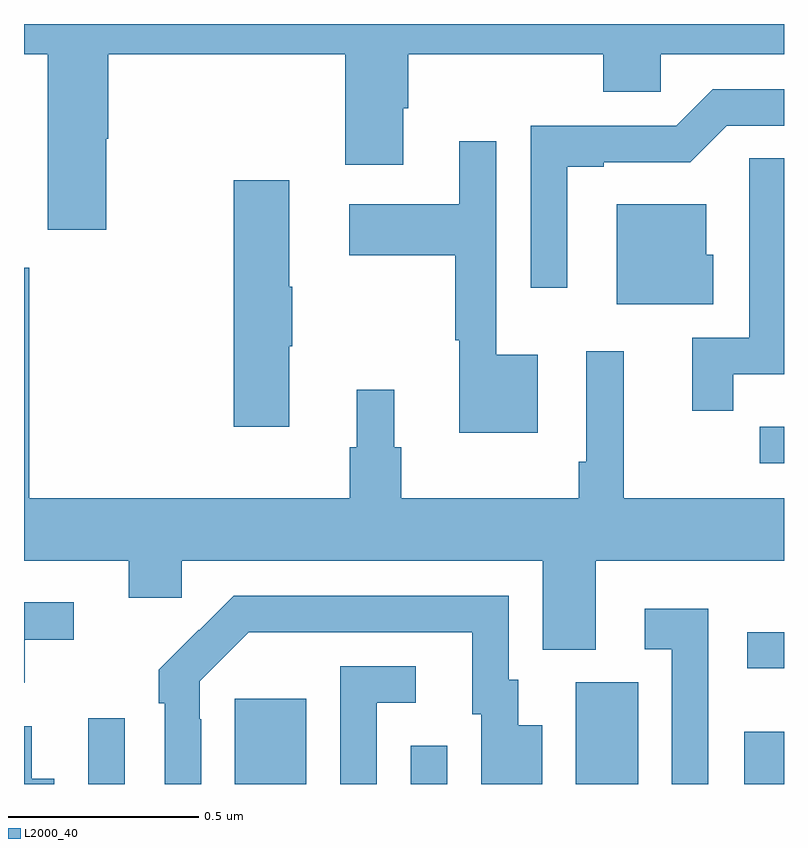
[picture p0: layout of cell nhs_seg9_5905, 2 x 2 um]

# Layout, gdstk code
import gdstk
lib = gdstk.Library(unit=1e-6, precision=1e-09)
def R(c, l, rs):  # rectangles x0, y0, x1, y1
    for r in rs: c.add(gdstk.rectangle(r[:2], r[2:], *l))
def P(c, l, *ps):  # polygons
    for p in ps: c.add(gdstk.Polygon(p, *l))
L2000_40 = (2000, 40)

nhs_seg9_5905 = lib.new_cell('nhs_seg9_5905')
R(nhs_seg9_5905, L2000_40, [(185.169,1194.5,185.265,1194.673), (185.555,1194.5,185.743,1194.724), (186.018,1194.5,186.114,1194.601), (186.452,1194.5,186.616,1194.768), (186.896,1194.5,187,1194.637), (186.903,1194.804,187,1194.9), (186.936,1195.344,187,1195.44)])
P(nhs_seg9_5905, L2000_40, [(185.217,1196.198),(185.222,1196.198),(185.222,1196.42),(185.846,1196.42),(185.846,1196.13),(185.998,1196.13),(185.998,1196.278),(186.011,1196.278),(186.011,1196.42),(186.524,1196.42),(186.524,1196.322),(186.675,1196.322),(186.675,1196.42),(187,1196.42),(187,1196.5),(185,1196.5),(185,1196.42),(185.062,1196.42),(185.062,1195.959),(185.217,1195.959)],
  [(186.43,1196.124),(186.526,1196.124),(186.526,1196.136),(186.753,1196.136),(186.849,1196.232),(187,1196.232),(187,1196.328),(186.813,1196.328),(186.717,1196.232),(186.333,1196.232),(186.333,1195.806),(186.43,1195.806)],
  [(186.352,1195.63),(186.243,1195.63),(186.243,1196.191),(186.146,1196.191),(186.146,1196.026),(185.856,1196.026),(185.856,1195.892),(186.135,1195.892),(186.135,1195.668),(186.146,1195.668),(186.146,1195.424),(186.352,1195.424)],
  [(186.866,1195.578),(187,1195.578),(187,1196.147),(186.909,1196.147),(186.909,1196.036),(186.908,1196.036),(186.908,1195.674),(186.758,1195.674),(186.758,1195.482),(186.866,1195.482)],
  [(185.698,1195.652),(185.706,1195.652),(185.706,1195.808),(185.698,1195.808),(185.698,1196.089),(185.552,1196.089),(185.552,1195.44),(185.698,1195.44)],
  [(186.814,1195.893),(186.796,1195.893),(186.796,1196.026),(186.56,1196.026),(186.56,1195.763),(186.814,1195.763)],
  [(186.505,1195.088),(187,1195.088),(187,1195.252),(186.578,1195.252),(186.578,1195.639),(186.48,1195.639),(186.48,1195.348),(186.46,1195.348),(186.46,1195.252),(185.993,1195.252),(185.993,1195.386),(185.974,1195.386),(185.974,1195.537),(185.876,1195.537),(185.876,1195.386),(185.857,1195.386),(185.857,1195.252),(185.014,1195.252),(185.014,1195.858),(185,1195.858),(185,1195.088),(185.276,1195.088),(185.276,1194.99),(185.415,1194.99),(185.415,1195.088),(186.365,1195.088),(186.365,1194.853),(186.505,1194.853)],
  [(185.466,1194.671),(185.463,1194.671),(185.463,1194.771),(185.592,1194.9),(186.179,1194.9),(186.179,1194.684),(186.203,1194.684),(186.203,1194.5),(186.364,1194.5),(186.364,1194.655),(186.301,1194.655),(186.301,1194.774),(186.276,1194.774),(186.276,1194.996),(185.552,1194.996),(185.461,1194.905),(185.46,1194.906),(185.355,1194.801),(185.355,1194.713),(185.37,1194.713),(185.37,1194.5),(185.466,1194.5)],
  [(185.002,1194.88),(185.131,1194.88),(185.131,1194.978),(185,1194.978),(185,1194.767),(185.002,1194.767)],
  [(186.801,1194.961),(186.633,1194.961),(186.633,1194.855),(186.705,1194.855),(186.705,1194.5),(186.801,1194.5)],
  [(185.928,1194.714),(186.031,1194.714),(186.031,1194.81),(185.832,1194.81),(185.832,1194.5),(185.928,1194.5)],
  [(185.08,1194.514),(185.02,1194.514),(185.02,1194.652),(185,1194.652),(185,1194.5),(185.08,1194.5)])

lib.write_gds('nhs_seg9_5905.gds')
